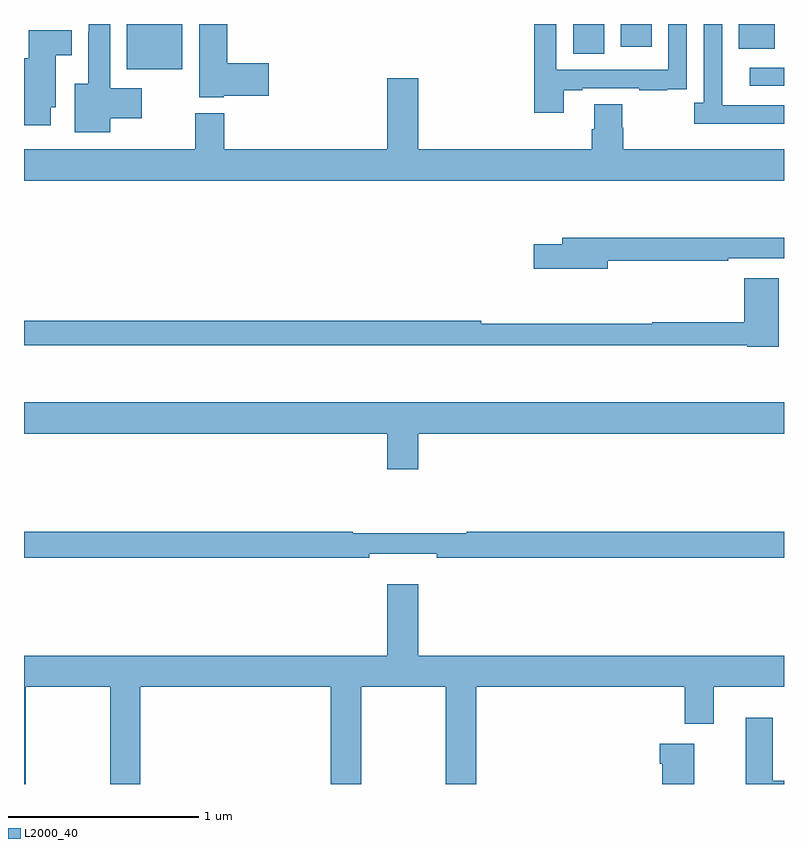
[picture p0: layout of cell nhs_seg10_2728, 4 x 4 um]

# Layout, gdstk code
import gdstk
lib = gdstk.Library(unit=1e-6, precision=1e-09)
def R(c, l, rs):  # rectangles x0, y0, x1, y1
    for r in rs: c.add(gdstk.rectangle(r[:2], r[2:], *l))
def P(c, l, *ps):  # polygons
    for p in ps: c.add(gdstk.Polygon(p, *l))
L2000_40 = (2000, 40)

nhs_seg10_2728 = lib.new_cell('nhs_seg10_2728')
R(nhs_seg10_2728, L2000_40, [(262.821,1274.175,263,1274.271), (259.541,1274.261,259.834,1274.5), (261.89,1274.344,262.054,1274.5), (262.763,1274.369,262.951,1274.5), (262.142,1274.379,262.303,1274.5)])
P(nhs_seg10_2728, L2000_40, [(261.841,1274.151),(261.937,1274.151),(261.937,1274.163),(262.237,1274.163),(262.237,1274.151),(262.385,1274.151),(262.385,1274.157),(262.487,1274.157),(262.487,1274.266),(262.488,1274.266),(262.488,1274.5),(262.392,1274.5),(262.392,1274.259),(261.801,1274.259),(261.801,1274.5),(261.685,1274.5),(261.685,1274.034),(261.841,1274.034)],
  [(259.453,1274.003),(259.621,1274.003),(259.621,1274.161),(259.453,1274.161),(259.453,1274.5),(259.341,1274.5),(259.341,1274.459),(259.337,1274.459),(259.337,1274.185),(259.268,1274.185),(259.268,1273.931),(259.453,1273.931)],
  [(260.052,1274.123),(260.287,1274.123),(260.287,1274.294),(260.069,1274.294),(260.069,1274.5),(259.922,1274.5),(259.922,1274.114),(260.052,1274.114)],
  [(263,1274.073),(262.675,1274.073),(262.675,1274.273),(262.674,1274.273),(262.674,1274.5),(262.578,1274.5),(262.578,1274.086),(262.527,1274.086),(262.527,1273.976),(263,1273.976)],
  [(259.141,1274.061),(259.168,1274.061),(259.168,1274.336),(259.252,1274.336),(259.252,1274.467),(259.025,1274.467),(259.025,1274.32),(259,1274.32),(259,1273.968),(259.141,1273.968)],
  [(263,1273.84),(262.154,1273.84),(262.154,1273.953),(262.149,1273.953),(262.149,1274.078),(262.001,1274.078),(262.001,1273.946),(261.989,1273.946),(261.989,1273.84),(261.076,1273.84),(261.076,1274.215),(260.912,1274.215),(260.912,1273.84),(260.054,1273.84),(260.054,1274.029),(259.901,1274.029),(259.901,1273.84),(259,1273.84),(259,1273.676),(263,1273.676)],
  [(262.072,1273.254),(262.706,1273.254),(262.706,1273.266),(263,1273.266),(263,1273.375),(261.833,1273.375),(261.833,1273.341),(261.684,1273.341),(261.684,1273.211),(262.072,1273.211)],
  [(262.973,1273.162),(262.79,1273.162),(262.79,1272.931),(262.306,1272.931),(262.306,1272.923),(261.406,1272.923),(261.406,1272.938),(259,1272.938),(259,1272.81),(262.806,1272.81),(262.806,1272.802),(262.973,1272.802)],
  [(261.076,1272.344),(263,1272.344),(263,1272.508),(259,1272.508),(259,1272.344),(260.912,1272.344),(260.912,1272.156),(261.076,1272.156)],
  [(260.816,1271.711),(261.172,1271.711),(261.172,1271.692),(263,1271.692),(263,1271.828),(261.329,1271.828),(261.329,1271.821),(260.729,1271.821),(260.729,1271.828),(259,1271.828),(259,1271.692),(260.816,1271.692)],
  [(259.008,1271.012),(259.453,1271.012),(259.453,1270.5),(259.613,1270.5),(259.613,1271.012),(260.615,1271.012),(260.615,1270.5),(260.775,1270.5),(260.775,1271.012),(261.22,1271.012),(261.22,1270.5),(261.38,1270.5),(261.38,1271.012),(262.478,1271.012),(262.478,1270.818),(262.63,1270.818),(262.63,1271.012),(263,1271.012),(263,1271.176),(261.076,1271.176),(261.076,1271.551),(260.912,1271.551),(260.912,1271.176),(259,1271.176),(259,1270.5),(259.008,1270.5)],
  [(263,1270.516),(262.942,1270.516),(262.942,1270.849),(262.799,1270.849),(262.799,1270.5),(263,1270.5)],
  [(262.528,1270.711),(262.346,1270.711),(262.346,1270.607),(262.358,1270.607),(262.358,1270.5),(262.528,1270.5)])

lib.write_gds('nhs_seg10_2728.gds')
